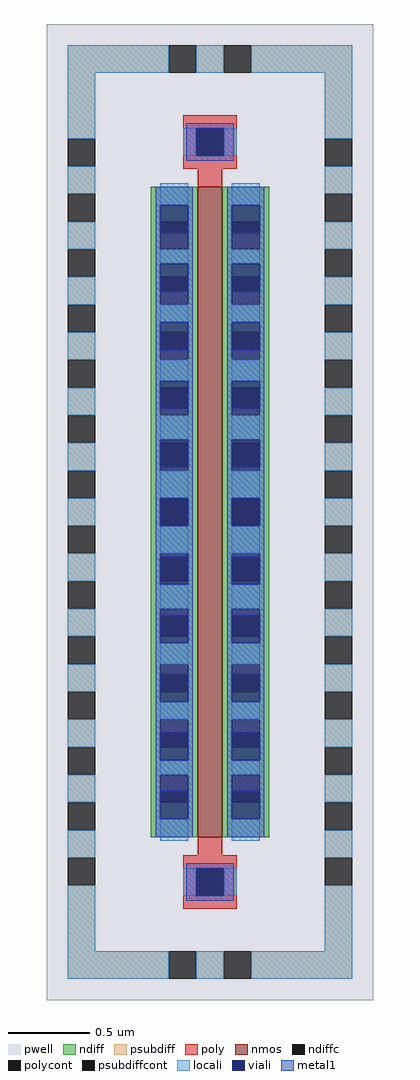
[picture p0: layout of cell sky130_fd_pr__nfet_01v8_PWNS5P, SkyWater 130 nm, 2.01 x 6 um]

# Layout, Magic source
magic
tech sky130A
magscale 1 2
<< pwell >>
rect -201 -600 201 600
<< nmos >>
rect -15 -400 15 400
<< ndiff >>
rect -73 357 -15 400
rect -73 323 -61 357
rect -27 323 -15 357
rect -73 289 -15 323
rect -73 255 -61 289
rect -27 255 -15 289
rect -73 221 -15 255
rect -73 187 -61 221
rect -27 187 -15 221
rect -73 153 -15 187
rect -73 119 -61 153
rect -27 119 -15 153
rect -73 85 -15 119
rect -73 51 -61 85
rect -27 51 -15 85
rect -73 17 -15 51
rect -73 -17 -61 17
rect -27 -17 -15 17
rect -73 -51 -15 -17
rect -73 -85 -61 -51
rect -27 -85 -15 -51
rect -73 -119 -15 -85
rect -73 -153 -61 -119
rect -27 -153 -15 -119
rect -73 -187 -15 -153
rect -73 -221 -61 -187
rect -27 -221 -15 -187
rect -73 -255 -15 -221
rect -73 -289 -61 -255
rect -27 -289 -15 -255
rect -73 -323 -15 -289
rect -73 -357 -61 -323
rect -27 -357 -15 -323
rect -73 -400 -15 -357
rect 15 357 73 400
rect 15 323 27 357
rect 61 323 73 357
rect 15 289 73 323
rect 15 255 27 289
rect 61 255 73 289
rect 15 221 73 255
rect 15 187 27 221
rect 61 187 73 221
rect 15 153 73 187
rect 15 119 27 153
rect 61 119 73 153
rect 15 85 73 119
rect 15 51 27 85
rect 61 51 73 85
rect 15 17 73 51
rect 15 -17 27 17
rect 61 -17 73 17
rect 15 -51 73 -17
rect 15 -85 27 -51
rect 61 -85 73 -51
rect 15 -119 73 -85
rect 15 -153 27 -119
rect 61 -153 73 -119
rect 15 -187 73 -153
rect 15 -221 27 -187
rect 61 -221 73 -187
rect 15 -255 73 -221
rect 15 -289 27 -255
rect 61 -289 73 -255
rect 15 -323 73 -289
rect 15 -357 27 -323
rect 61 -357 73 -323
rect 15 -400 73 -357
<< ndiffc >>
rect -61 323 -27 357
rect -61 255 -27 289
rect -61 187 -27 221
rect -61 119 -27 153
rect -61 51 -27 85
rect -61 -17 -27 17
rect -61 -85 -27 -51
rect -61 -153 -27 -119
rect -61 -221 -27 -187
rect -61 -289 -27 -255
rect -61 -357 -27 -323
rect 27 323 61 357
rect 27 255 61 289
rect 27 187 61 221
rect 27 119 61 153
rect 27 51 61 85
rect 27 -17 61 17
rect 27 -85 61 -51
rect 27 -153 61 -119
rect 27 -221 61 -187
rect 27 -289 61 -255
rect 27 -357 61 -323
<< psubdiff >>
rect -175 540 -51 574
rect -17 540 17 574
rect 51 540 175 574
rect -175 459 -141 540
rect -175 391 -141 425
rect 141 459 175 540
rect -175 323 -141 357
rect -175 255 -141 289
rect -175 187 -141 221
rect -175 119 -141 153
rect -175 51 -141 85
rect -175 -17 -141 17
rect -175 -85 -141 -51
rect -175 -153 -141 -119
rect -175 -221 -141 -187
rect -175 -289 -141 -255
rect -175 -357 -141 -323
rect -175 -425 -141 -391
rect 141 391 175 425
rect 141 323 175 357
rect 141 255 175 289
rect 141 187 175 221
rect 141 119 175 153
rect 141 51 175 85
rect 141 -17 175 17
rect 141 -85 175 -51
rect 141 -153 175 -119
rect 141 -221 175 -187
rect 141 -289 175 -255
rect 141 -357 175 -323
rect -175 -540 -141 -459
rect 141 -425 175 -391
rect 141 -540 175 -459
rect -175 -574 -51 -540
rect -17 -574 17 -540
rect 51 -574 175 -540
<< psubdiffcont >>
rect -51 540 -17 574
rect 17 540 51 574
rect -175 425 -141 459
rect 141 425 175 459
rect -175 357 -141 391
rect -175 289 -141 323
rect -175 221 -141 255
rect -175 153 -141 187
rect -175 85 -141 119
rect -175 17 -141 51
rect -175 -51 -141 -17
rect -175 -119 -141 -85
rect -175 -187 -141 -153
rect -175 -255 -141 -221
rect -175 -323 -141 -289
rect -175 -391 -141 -357
rect 141 357 175 391
rect 141 289 175 323
rect 141 221 175 255
rect 141 153 175 187
rect 141 85 175 119
rect 141 17 175 51
rect 141 -51 175 -17
rect 141 -119 175 -85
rect 141 -187 175 -153
rect 141 -255 175 -221
rect 141 -323 175 -289
rect 141 -391 175 -357
rect -175 -459 -141 -425
rect 141 -459 175 -425
rect -51 -574 -17 -540
rect 17 -574 51 -540
<< poly >>
rect -33 472 33 488
rect -33 438 -17 472
rect 17 438 33 472
rect -33 422 33 438
rect -15 400 15 422
rect -15 -422 15 -400
rect -33 -438 33 -422
rect -33 -472 -17 -438
rect 17 -472 33 -438
rect -33 -488 33 -472
<< polycont >>
rect -17 438 17 472
rect -17 -472 17 -438
<< locali >>
rect -175 540 -51 574
rect -17 540 17 574
rect 51 540 175 574
rect -175 459 -141 540
rect -33 438 -17 472
rect 17 438 33 472
rect 141 459 175 540
rect -175 391 -141 425
rect -175 323 -141 357
rect -175 255 -141 289
rect -175 187 -141 221
rect -175 119 -141 153
rect -175 51 -141 85
rect -175 -17 -141 17
rect -175 -85 -141 -51
rect -175 -153 -141 -119
rect -175 -221 -141 -187
rect -175 -289 -141 -255
rect -175 -357 -141 -323
rect -175 -425 -141 -391
rect -61 377 -27 404
rect -61 305 -27 323
rect -61 233 -27 255
rect -61 161 -27 187
rect -61 89 -27 119
rect -61 17 -27 51
rect -61 -51 -27 -17
rect -61 -119 -27 -89
rect -61 -187 -27 -161
rect -61 -255 -27 -233
rect -61 -323 -27 -305
rect -61 -404 -27 -377
rect 27 377 61 404
rect 27 305 61 323
rect 27 233 61 255
rect 27 161 61 187
rect 27 89 61 119
rect 27 17 61 51
rect 27 -51 61 -17
rect 27 -119 61 -89
rect 27 -187 61 -161
rect 27 -255 61 -233
rect 27 -323 61 -305
rect 27 -404 61 -377
rect 141 391 175 425
rect 141 323 175 357
rect 141 255 175 289
rect 141 187 175 221
rect 141 119 175 153
rect 141 51 175 85
rect 141 -17 175 17
rect 141 -85 175 -51
rect 141 -153 175 -119
rect 141 -221 175 -187
rect 141 -289 175 -255
rect 141 -357 175 -323
rect 141 -425 175 -391
rect -175 -540 -141 -459
rect -33 -472 -17 -438
rect 17 -472 33 -438
rect 141 -540 175 -459
rect -175 -574 -51 -540
rect -17 -574 17 -540
rect 51 -574 175 -540
<< viali >>
rect -17 438 17 472
rect -61 357 -27 377
rect -61 343 -27 357
rect -61 289 -27 305
rect -61 271 -27 289
rect -61 221 -27 233
rect -61 199 -27 221
rect -61 153 -27 161
rect -61 127 -27 153
rect -61 85 -27 89
rect -61 55 -27 85
rect -61 -17 -27 17
rect -61 -85 -27 -55
rect -61 -89 -27 -85
rect -61 -153 -27 -127
rect -61 -161 -27 -153
rect -61 -221 -27 -199
rect -61 -233 -27 -221
rect -61 -289 -27 -271
rect -61 -305 -27 -289
rect -61 -357 -27 -343
rect -61 -377 -27 -357
rect 27 357 61 377
rect 27 343 61 357
rect 27 289 61 305
rect 27 271 61 289
rect 27 221 61 233
rect 27 199 61 221
rect 27 153 61 161
rect 27 127 61 153
rect 27 85 61 89
rect 27 55 61 85
rect 27 -17 61 17
rect 27 -85 61 -55
rect 27 -89 61 -85
rect 27 -153 61 -127
rect 27 -161 61 -153
rect 27 -221 61 -199
rect 27 -233 61 -221
rect 27 -289 61 -271
rect 27 -305 61 -289
rect 27 -357 61 -343
rect 27 -377 61 -357
rect -17 -472 17 -438
<< metal1 >>
rect -29 472 29 478
rect -29 438 -17 472
rect 17 438 29 472
rect -29 432 29 438
rect -67 377 -21 400
rect -67 343 -61 377
rect -27 343 -21 377
rect -67 305 -21 343
rect -67 271 -61 305
rect -27 271 -21 305
rect -67 233 -21 271
rect -67 199 -61 233
rect -27 199 -21 233
rect -67 161 -21 199
rect -67 127 -61 161
rect -27 127 -21 161
rect -67 89 -21 127
rect -67 55 -61 89
rect -27 55 -21 89
rect -67 17 -21 55
rect -67 -17 -61 17
rect -27 -17 -21 17
rect -67 -55 -21 -17
rect -67 -89 -61 -55
rect -27 -89 -21 -55
rect -67 -127 -21 -89
rect -67 -161 -61 -127
rect -27 -161 -21 -127
rect -67 -199 -21 -161
rect -67 -233 -61 -199
rect -27 -233 -21 -199
rect -67 -271 -21 -233
rect -67 -305 -61 -271
rect -27 -305 -21 -271
rect -67 -343 -21 -305
rect -67 -377 -61 -343
rect -27 -377 -21 -343
rect -67 -400 -21 -377
rect 21 377 67 400
rect 21 343 27 377
rect 61 343 67 377
rect 21 305 67 343
rect 21 271 27 305
rect 61 271 67 305
rect 21 233 67 271
rect 21 199 27 233
rect 61 199 67 233
rect 21 161 67 199
rect 21 127 27 161
rect 61 127 67 161
rect 21 89 67 127
rect 21 55 27 89
rect 61 55 67 89
rect 21 17 67 55
rect 21 -17 27 17
rect 61 -17 67 17
rect 21 -55 67 -17
rect 21 -89 27 -55
rect 61 -89 67 -55
rect 21 -127 67 -89
rect 21 -161 27 -127
rect 61 -161 67 -127
rect 21 -199 67 -161
rect 21 -233 27 -199
rect 61 -233 67 -199
rect 21 -271 67 -233
rect 21 -305 27 -271
rect 61 -305 67 -271
rect 21 -343 67 -305
rect 21 -377 27 -343
rect 61 -377 67 -343
rect 21 -400 67 -377
rect -29 -438 29 -432
rect -29 -472 -17 -438
rect 17 -472 29 -438
rect -29 -478 29 -472
<< properties >>
string FIXED_BBOX -158 -557 158 557
string GDS_END 52776
string GDS_FILE /home/anton/projects/tt06-grab-bag/gds/tt_um_algofoogle_tt06_grab_bag.gds
string GDS_START 45860
<< end >>
